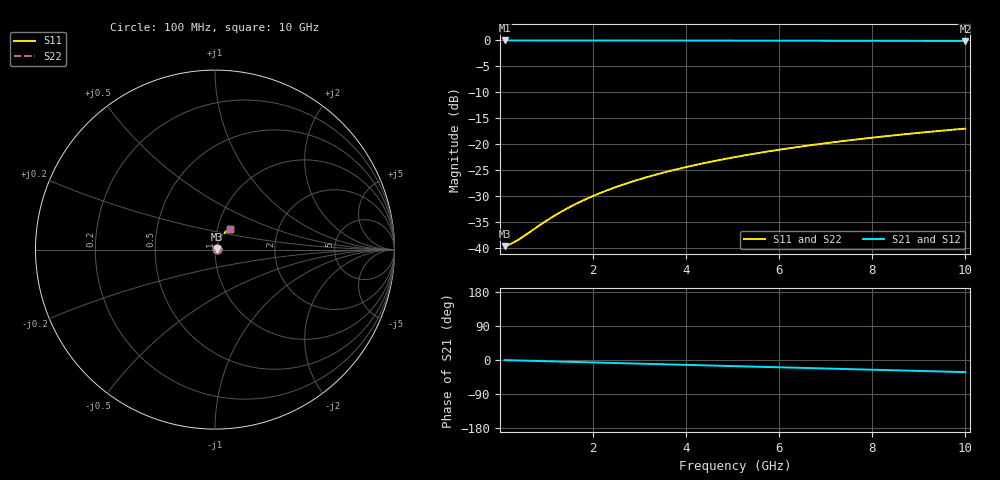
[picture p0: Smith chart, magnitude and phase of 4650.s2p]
# Hz S RI R 50.00
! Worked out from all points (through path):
!   100 points, 100 MHz to 10 GHz, reference 50 ohm
!   highest |S21| = -0.09 dB at 100 MHz (marker M1); lowest = -0.2 dB at 10 GHz (marker M2)
!   group delay of S21, straight-line fit = 8.89 ps
!   lowest |S11| = -39.7 dB at 100 MHz (marker M3), VSWR 1.02, Z = 51 + j0.146 ohm
!   |S11| at or under -10 dB: start of sweep to end of sweep
!   |S22| runs from -39.7 to -17.1 dB; largest |S21 - S12| = 0
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1e8  0.0103 0.00143  0.9897 -0.00556  0.9897 -0.00556  0.0103 0.00143
2e8  0.0103 0.00285  0.9896 -0.0111  0.9896 -0.0111  0.0103 0.00285
3e8  0.0104 0.00428  0.9895 -0.0167  0.9895 -0.0167  0.0104 0.00428
5e8  0.0106 0.00713  0.9891 -0.0278  0.9891 -0.0278  0.0106 0.00713
9e8  0.0112 0.0128  0.9881 -0.05  0.9881 -0.05  0.0112 0.0128
1.2e9  0.0117 0.017  0.987 -0.0666  0.987 -0.0666  0.0117 0.017
1.5e9  0.0124 0.0213  0.9856 -0.0832  0.9856 -0.0832  0.0124 0.0213
1.8e9  0.0133 0.0255  0.9839 -0.0997  0.9839 -0.0997  0.0133 0.0255
2.1e9  0.0143 0.0296  0.9819 -0.1162  0.9819 -0.1162  0.0143 0.0296
2.5e9  0.0158 0.0351  0.9788 -0.1382  0.9788 -0.1382  0.0158 0.0351
2.9e9  0.0175 0.0405  0.9752 -0.1601  0.9752 -0.1601  0.0175 0.0405
3.4e9  0.0201 0.0472  0.9699 -0.1873  0.9699 -0.1873  0.0201 0.0472
3.8e9  0.0223 0.0524  0.9651 -0.2089  0.9651 -0.2089  0.0223 0.0524
4.2e9  0.0249 0.0575  0.9599 -0.2303  0.9599 -0.2303  0.0249 0.0575
4.6e9  0.0276 0.0624  0.9541 -0.2517  0.9541 -0.2517  0.0276 0.0624
5.1e9  0.0313 0.0685  0.9462 -0.2781  0.9462 -0.2781  0.0313 0.0685
5.9e9  0.038 0.0776  0.9319 -0.3197  0.9319 -0.3197  0.038 0.0776
6.7e9  0.0454 0.0861  0.9157 -0.3606  0.9157 -0.3606  0.0454 0.0861
7.5e9  0.0536 0.0939  0.8977 -0.4005  0.8977 -0.4005  0.0536 0.0939
8.4e9  0.0636 0.1017  0.8754 -0.4443  0.8754 -0.4443  0.0636 0.1017
9.2e9  0.073 0.1078  0.8537 -0.482  0.8537 -0.482  0.073 0.1078
1e10  0.0829 0.113  0.8303 -0.5185  0.8303 -0.5185  0.0829 0.113
